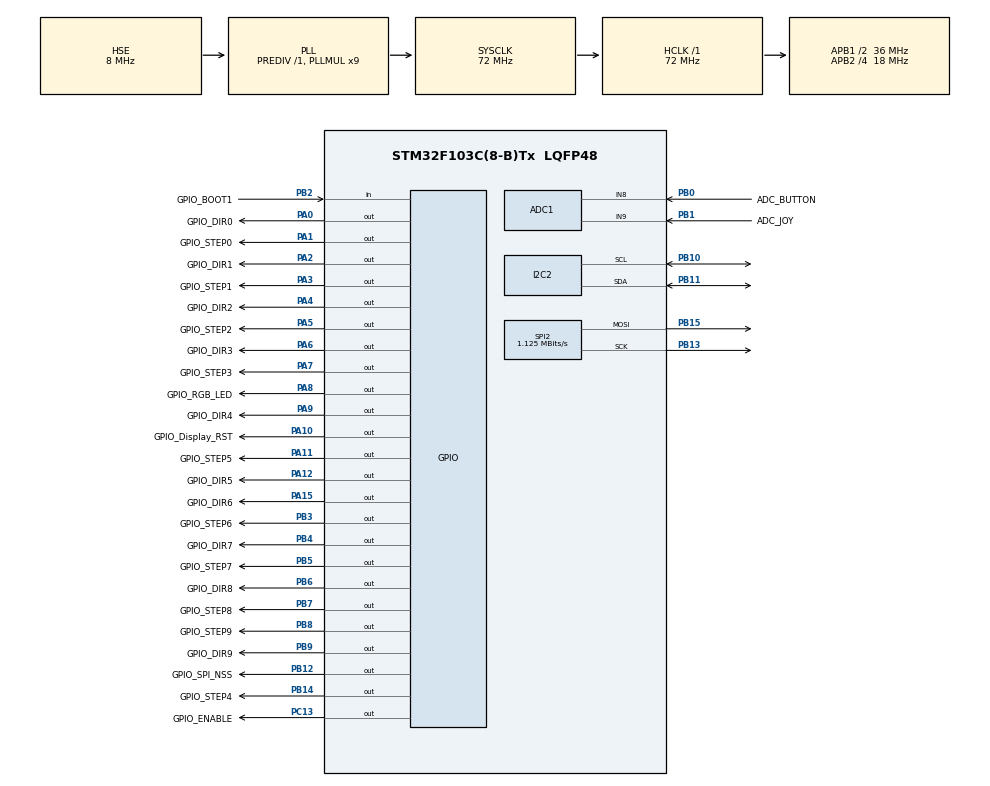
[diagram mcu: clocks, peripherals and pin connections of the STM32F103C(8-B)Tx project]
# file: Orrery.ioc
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ADC1.Channel-0\#ChannelRegularConversion=ADC_CHANNEL_8
ADC1.Channel-1\#ChannelRegularConversion=ADC_CHANNEL_8
ADC1.Channel-2\#ChannelRegularConversion=ADC_CHANNEL_8
ADC1.Channel-3\#ChannelRegularConversion=ADC_CHANNEL_8
ADC1.Channel-4\#ChannelRegularConversion=ADC_CHANNEL_9
ADC1.Channel-5\#ChannelRegularConversion=ADC_CHANNEL_9
ADC1.Channel-6\#ChannelRegularConversion=ADC_CHANNEL_9
ADC1.Channel-7\#ChannelRegularConversion=ADC_CHANNEL_9
ADC1.ContinuousConvMode=ENABLE
ADC1.NbrOfConversion=8
ADC1.NbrOfConversionFlag=1
ADC1.Rank-0\#ChannelRegularConversion=1
ADC1.Rank-1\#ChannelRegularConversion=2
ADC1.Rank-2\#ChannelRegularConversion=3
ADC1.Rank-3\#ChannelRegularConversion=4
ADC1.Rank-4\#ChannelRegularConversion=5
ADC1.Rank-5\#ChannelRegularConversion=6
ADC1.Rank-6\#ChannelRegularConversion=7
ADC1.Rank-7\#ChannelRegularConversion=8
ADC1.SamplingTime-0\#ChannelRegularConversion=ADC_SAMPLETIME_239CYCLES_5
ADC1.SamplingTime-1\#ChannelRegularConversion=ADC_SAMPLETIME_239CYCLES_5
ADC1.SamplingTime-2\#ChannelRegularConversion=ADC_SAMPLETIME_239CYCLES_5
ADC1.SamplingTime-3\#ChannelRegularConversion=ADC_SAMPLETIME_239CYCLES_5
ADC1.SamplingTime-4\#ChannelRegularConversion=ADC_SAMPLETIME_239CYCLES_5
ADC1.SamplingTime-5\#ChannelRegularConversion=ADC_SAMPLETIME_239CYCLES_5
ADC1.SamplingTime-6\#ChannelRegularConversion=ADC_SAMPLETIME_239CYCLES_5
ADC1.SamplingTime-7\#ChannelRegularConversion=ADC_SAMPLETIME_239CYCLES_5
ADC1.master=1
Dma.ADC1.1.Direction=DMA_PERIPH_TO_MEMORY
Dma.ADC1.1.Instance=DMA1_Channel1
Dma.ADC1.1.MemDataAlignment=DMA_MDATAALIGN_HALFWORD
Dma.ADC1.1.MemInc=DMA_MINC_ENABLE
Dma.ADC1.1.Mode=DMA_CIRCULAR
Dma.ADC1.1.PeriphDataAlignment=DMA_PDATAALIGN_HALFWORD
Dma.ADC1.1.PeriphInc=DMA_PINC_DISABLE
Dma.ADC1.1.Priority=DMA_PRIORITY_LOW
Dma.I2C2_TX.0.Direction=DMA_MEMORY_TO_PERIPH
Dma.I2C2_TX.0.Instance=DMA1_Channel4
Dma.I2C2_TX.0.MemDataAlignment=DMA_MDATAALIGN_BYTE
Dma.I2C2_TX.0.MemInc=DMA_MINC_ENABLE
Dma.I2C2_TX.0.Mode=DMA_NORMAL
Dma.I2C2_TX.0.PeriphDataAlignment=DMA_PDATAALIGN_BYTE
Dma.I2C2_TX.0.PeriphInc=DMA_PINC_DISABLE
Dma.I2C2_TX.0.Priority=DMA_PRIORITY_HIGH
Dma.Request0=I2C2_TX
Dma.Request1=ADC1
I2C2.I2C_Mode=I2C_Fast
Mcu.Family=STM32F1
Mcu.Name=STM32F103C(8-B)Tx
Mcu.Package=LQFP48
NVIC.ADC1_2_IRQn=true\:0\:0\:false\:false\:true\:true\:true
NVIC.DMA1_Channel1_IRQn=true\:0\:0\:false\:false\:true\:false\:true
NVIC.DMA1_Channel4_IRQn=true\:0\:0\:false\:false\:true\:false\:true
NVIC.I2C2_ER_IRQn=true\:0\:0\:false\:false\:true\:true\:true
NVIC.I2C2_EV_IRQn=true\:0\:0\:false\:false\:true\:true\:true
NVIC.PriorityGroup=NVIC_PRIORITYGROUP_4
NVIC.RTC_IRQn=true\:0\:0\:false\:false\:true\:true\:false
NVIC.TIM2_IRQn=true\:0\:0\:false\:false\:false\:true\:true
NVIC.TIM3_IRQn=true\:0\:0\:false\:false\:false\:true\:true
PA0-WKUP.GPIO_Label=GPIO_DIR0
PA0-WKUP.Signal=GPIO_Output
PA1.GPIO_Label=GPIO_STEP0
PA1.Signal=GPIO_Output
PA10.GPIO_Label=GPIO_Display_RST
PA10.Signal=GPIO_Output
PA11.GPIO_Label=GPIO_STEP5
PA11.Signal=GPIO_Output
PA12.GPIO_Label=GPIO_DIR5
PA12.Signal=GPIO_Output
PA13.Mode=Serial_Wire
PA13.Signal=SYS_JTMS-SWDIO
PA14.Mode=Serial_Wire
PA14.Signal=SYS_JTCK-SWCLK
PA15.GPIO_Label=GPIO_DIR6
PA15.Signal=GPIO_Output
PA2.GPIO_Label=GPIO_DIR1
PA2.Signal=GPIO_Output
PA3.GPIO_Label=GPIO_STEP1
PA3.Signal=GPIO_Output
PA4.GPIO_Label=GPIO_DIR2
PA4.Signal=GPIO_Output
PA5.GPIO_Label=GPIO_STEP2
PA5.Signal=GPIO_Output
PA6.GPIO_Label=GPIO_DIR3
PA6.Signal=GPIO_Output
PA7.GPIO_Label=GPIO_STEP3
PA7.Signal=GPIO_Output
PA8.GPIO_Label=GPIO_RGB_LED
PA8.Signal=GPIO_Output
PA9.GPIO_Label=GPIO_DIR4
PA9.Signal=GPIO_Output
PB0.GPIO_Label=ADC_BUTTON
PB0.Signal=ADCx_IN8
PB1.GPIO_Label=ADC_JOY
PB1.Signal=ADCx_IN9
PB10.Mode=I2C
PB10.Signal=I2C2_SCL
PB11.Mode=I2C
PB11.Signal=I2C2_SDA
PB12.GPIO_Label=GPIO_SPI_NSS
PB12.GPIO_Speed=GPIO_SPEED_FREQ_HIGH
PB12.PinState=GPIO_PIN_SET
PB12.Signal=GPIO_Output
PB13.Mode=TX_Only_Simplex_Unidirect_Master
PB13.Signal=SPI2_SCK
PB14.GPIO_Label=GPIO_STEP4
PB14.Signal=GPIO_Output
PB15.Mode=TX_Only_Simplex_Unidirect_Master
PB15.Signal=SPI2_MOSI
PB2.GPIO_Label=GPIO_BOOT1
PB2.Signal=GPIO_Input
PB3.GPIO_Label=GPIO_STEP6
PB3.Signal=GPIO_Output
PB4.GPIO_Label=GPIO_DIR7
PB4.Signal=GPIO_Output
PB5.GPIO_Label=GPIO_STEP7
PB5.Signal=GPIO_Output
PB6.GPIO_Label=GPIO_DIR8
PB6.Signal=GPIO_Output
PB7.GPIO_Label=GPIO_STEP8
PB7.Signal=GPIO_Output
PB8.GPIO_Label=GPIO_STEP9
PB8.Signal=GPIO_Output
PB9.GPIO_Label=GPIO_DIR9
PB9.Signal=GPIO_Output
PC13-TAMPER-RTC.GPIO_Label=GPIO_ENABLE
PC13-TAMPER-RTC.Signal=GPIO_Output
PC14-OSC32_IN.Mode=LSE-External-Oscillator
PC14-OSC32_IN.Signal=RCC_OSC32_IN
PC15-OSC32_OUT.Mode=LSE-External-Oscillator
PC15-OSC32_OUT.Signal=RCC_OSC32_OUT
PD0-OSC_IN.Mode=HSE-External-Oscillator
PD0-OSC_IN.Signal=RCC_OSC_IN
PD1-OSC_OUT.Mode=HSE-External-Oscillator
PD1-OSC_OUT.Signal=RCC_OSC_OUT
ProjectManager.HeapSize=0x200
ProjectManager.StackSize=0x400
ProjectManager.TargetToolchain=Other Toolchains (GPDSC)
RCC.ADCPresc=RCC_ADCPCLK2_DIV8
RCC.AHBFreq_Value=72000000
RCC.APB1CLKDivider=RCC_HCLK_DIV2
RCC.APB1Freq_Value=36000000
RCC.APB1TimFreq_Value=72000000
RCC.APB2CLKDivider=RCC_HCLK_DIV4
RCC.APB2Freq_Value=18000000
RCC.APB2TimFreq_Value=36000000
RCC.HCLKFreq_Value=72000000
RCC.PLLMUL=RCC_PLL_MUL9
RCC.PLLSourceVirtual=RCC_PLLSOURCE_HSE
RCC.RTCClockSelection=RCC_RTCCLKSOURCE_LSE
RCC.SYSCLKFreq_VALUE=72000000
RCC.SYSCLKSource=RCC_SYSCLKSOURCE_PLLCLK
RCC.USBFreq_Value=72000000
RTC.AutoPrediv=0
SH.ADCx_IN8.0=ADC1_IN8,IN8
SH.ADCx_IN9.0=ADC1_IN9,IN9
SPI2.BaudRatePrescaler=SPI_BAUDRATEPRESCALER_32
SPI2.CalculateBaudRate=1.125 MBits/s
SPI2.Direction=SPI_DIRECTION_2LINES
SPI2.Mode=SPI_MODE_MASTER
SPI2.VirtualType=VM_MASTER
TIM2.Period=1
TIM2.Prescaler=17999
TIM3.Period=2000
TIM3.Prescaler=35999
VP_CRC_VS_CRC.Mode=CRC_Activate
VP_RTC_VS_RTC_Activate.Mode=RTC_Enabled
VP_TIM1_VS_ClockSourceINT.Mode=Internal
VP_TIM2_VS_ClockSourceINT.Mode=Internal
VP_TIM3_VS_ClockSourceINT.Mode=Internal
board=custom

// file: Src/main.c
/* USER CODE BEGIN Header */
/**
  ******************************************************************************
  * @file           : main.c
  * @brief          : Main program body
  ******************************************************************************
  ** This notice applies to any and all portions of this file
  * that are not between comment pairs USER CODE BEGIN and
  * USER CODE END. Other portions of this file, whether
  * inserted by the user or by software development tools
  * are owned by their respective copyright owners.
  *
  * COPYRIGHT(c) 2020 STMicroelectronics
  *
  * Redistribution and use in source and binary forms, with or without modification,
  * are permitted provided that the following conditions are met:
  *   1. Redistributions of source code must retain the above copyright notice,
  *      this list of conditions and the following disclaimer.
  *   2. Redistributions in binary form must reproduce the above copyright notice,
  *      this list of conditions and the following disclaimer in the documentation
  *      and/or other materials provided with the distribution.
  *   3. Neither the name of STMicroelectronics nor the names of its contributors
  *      may be used to endorse or promote products derived from this software
  *      without specific prior written permission.
  *
  * THIS SOFTWARE IS PROVIDED BY THE COPYRIGHT HOLDERS AND CONTRIBUTORS "AS IS"
  * AND ANY EXPRESS OR IMPLIED WARRANTIES, INCLUDING, BUT NOT LIMITED TO, THE
  * IMPLIED WARRANTIES OF MERCHANTABILITY AND FITNESS FOR A PARTICULAR PURPOSE ARE
  * DISCLAIMED. IN NO EVENT SHALL THE COPYRIGHT HOLDER OR CONTRIBUTORS BE LIABLE
  * FOR ANY DIRECT, INDIRECT, INCIDENTAL, SPECIAL, EXEMPLARY, OR CONSEQUENTIAL
  * DAMAGES (INCLUDING, BUT NOT LIMITED TO, PROCUREMENT OF SUBSTITUTE GOODS OR
  * SERVICES; LOSS OF USE, DATA, OR PROFITS; OR BUSINESS INTERRUPTION) HOWEVER
  * CAUSED AND ON ANY THEORY OF LIABILITY, WHETHER IN CONTRACT, STRICT LIABILITY,
  * OR TORT (INCLUDING NEGLIGENCE OR OTHERWISE) ARISING IN ANY WAY OUT OF THE USE
  * OF THIS SOFTWARE, EVEN IF ADVISED OF THE POSSIBILITY OF SUCH DAMAGE.
  *
  ******************************************************************************
  */
/* USER CODE END Header */
#include "main.h"

/* USER CODE BEGIN Includes */
#include <memory.h>
#include "Orrery.h"
#include "RTC_time_t.h"
/* USER CODE END Includes */

/* USER CODE BEGIN PD */

						// Year  Month   Day    Hour  Minute  Second
						// NNNN  1-12   1-31    0-24    0-60    0-60
//#define RTC_SET_DATETIME   2021, 	6,    27,      9,     28,     30

/* USER CODE END PD */

ADC_HandleTypeDef hadc1;
DMA_HandleTypeDef hdma_adc1;

CRC_HandleTypeDef hcrc;

I2C_HandleTypeDef hi2c2;
DMA_HandleTypeDef hdma_i2c2_tx;

RTC_HandleTypeDef hrtc;

SPI_HandleTypeDef hspi2;

TIM_HandleTypeDef htim1;
TIM_HandleTypeDef htim2;
TIM_HandleTypeDef htim3;

void SystemClock_Config(void);
static void MX_GPIO_Init(void);
static void MX_DMA_Init(void);
static void MX_CRC_Init(void);
static void MX_ADC1_Init(void);
static void MX_I2C2_Init(void);
static void MX_SPI2_Init(void);
static void MX_TIM1_Init(void);
static void MX_RTC_Init(void);
static void MX_TIM2_Init(void);
static void MX_TIM3_Init(void);

int main(void)
{

  /* MCU Configuration--------------------------------------------------------*/

  /* Reset of all peripherals, Initializes the Flash interface and the Systick. */
  HAL_Init();

  /* Configure the system clock */
  SystemClock_Config();

  /* Initialize all configured peripherals */
  MX_GPIO_Init();
  MX_DMA_Init();
  MX_CRC_Init();
  MX_ADC1_Init();
  MX_I2C2_Init();
  MX_SPI2_Init();
  MX_TIM1_Init();
  MX_RTC_Init();
  MX_TIM2_Init();
  MX_TIM3_Init();
  /* USER CODE BEGIN 2 */
  HAL_RTCEx_SetSecond_IT(&hrtc);

  Orrery o;
  o.main();
  /* USER CODE END 2 */

  /* Infinite loop */
  while (1)
  {

  }
}

void SystemClock_Config(void)
{
  RCC_OscInitTypeDef RCC_OscInitStruct = {0};
  RCC_ClkInitTypeDef RCC_ClkInitStruct = {0};
  RCC_PeriphCLKInitTypeDef PeriphClkInit = {0};

  /** Initializes the RCC Oscillators according to the specified parameters
  * in the RCC_OscInitTypeDef structure.
  */
  RCC_OscInitStruct.OscillatorType = RCC_OSCILLATORTYPE_HSE|RCC_OSCILLATORTYPE_LSE;
  RCC_OscInitStruct.HSEState = RCC_HSE_ON;
  RCC_OscInitStruct.HSEPredivValue = RCC_HSE_PREDIV_DIV1;
  RCC_OscInitStruct.LSEState = RCC_LSE_ON;
  RCC_OscInitStruct.HSIState = RCC_HSI_ON;
  RCC_OscInitStruct.PLL.PLLState = RCC_PLL_ON;
  RCC_OscInitStruct.PLL.PLLSource = RCC_PLLSOURCE_HSE;
  RCC_OscInitStruct.PLL.PLLMUL = RCC_PLL_MUL9;
  if (HAL_RCC_OscConfig(&RCC_OscInitStruct) != HAL_OK)
  {
    Error_Handler();
  }
  /** Initializes the CPU, AHB and APB buses clocks
  */
  RCC_ClkInitStruct.ClockType = RCC_CLOCKTYPE_HCLK|RCC_CLOCKTYPE_SYSCLK
                              |RCC_CLOCKTYPE_PCLK1|RCC_CLOCKTYPE_PCLK2;
  RCC_ClkInitStruct.SYSCLKSource = RCC_SYSCLKSOURCE_PLLCLK;
  RCC_ClkInitStruct.AHBCLKDivider = RCC_SYSCLK_DIV1;
  RCC_ClkInitStruct.APB1CLKDivider = RCC_HCLK_DIV2;
  RCC_ClkInitStruct.APB2CLKDivider = RCC_HCLK_DIV4;

  if (HAL_RCC_ClockConfig(&RCC_ClkInitStruct, FLASH_LATENCY_2) != HAL_OK)
  {
    Error_Handler();
  }
  PeriphClkInit.PeriphClockSelection = RCC_PERIPHCLK_RTC|RCC_PERIPHCLK_ADC;
  PeriphClkInit.RTCClockSelection = RCC_RTCCLKSOURCE_LSE;
  PeriphClkInit.AdcClockSelection = RCC_ADCPCLK2_DIV8;
  if (HAL_RCCEx_PeriphCLKConfig(&PeriphClkInit) != HAL_OK)
  {
    Error_Handler();
  }
}

static void MX_ADC1_Init(void)
{

  ADC_ChannelConfTypeDef sConfig = {0};

  /** Common config
  */
  hadc1.Instance = ADC1;
  hadc1.Init.ScanConvMode = ADC_SCAN_ENABLE;
  hadc1.Init.ContinuousConvMode = ENABLE;
  hadc1.Init.DiscontinuousConvMode = DISABLE;
  hadc1.Init.ExternalTrigConv = ADC_SOFTWARE_START;
  hadc1.Init.DataAlign = ADC_DATAALIGN_RIGHT;
  hadc1.Init.NbrOfConversion = 8;
  if (HAL_ADC_Init(&hadc1) != HAL_OK)
  {
    Error_Handler();
  }
  /** Configure Regular Channel
  */
  sConfig.Channel = ADC_CHANNEL_8;
  sConfig.Rank = ADC_REGULAR_RANK_1;
  sConfig.SamplingTime = ADC_SAMPLETIME_239CYCLES_5;
  if (HAL_ADC_ConfigChannel(&hadc1, &sConfig) != HAL_OK)
  {
    Error_Handler();
  }
  /** Configure Regular Channel
  */
  sConfig.Rank = ADC_REGULAR_RANK_2;
  if (HAL_ADC_ConfigChannel(&hadc1, &sConfig) != HAL_OK)
  {
    Error_Handler();
  }
  /** Configure Regular Channel
  */
  sConfig.Rank = ADC_REGULAR_RANK_3;
  if (HAL_ADC_ConfigChannel(&hadc1, &sConfig) != HAL_OK)
  {
    Error_Handler();
  }
  /** Configure Regular Channel
  */
  sConfig.Rank = ADC_REGULAR_RANK_4;
  if (HAL_ADC_ConfigChannel(&hadc1, &sConfig) != HAL_OK)
  {
    Error_Handler();
  }
  /** Configure Regular Channel
  */
  sConfig.Channel = ADC_CHANNEL_9;
  sConfig.Rank = ADC_REGULAR_RANK_5;
  if (HAL_ADC_ConfigChannel(&hadc1, &sConfig) != HAL_OK)
  {
    Error_Handler();
  }
  /** Configure Regular Channel
  */
  sConfig.Rank = ADC_REGULAR_RANK_6;
  if (HAL_ADC_ConfigChannel(&hadc1, &sConfig) != HAL_OK)
  {
    Error_Handler();
  }
  /** Configure Regular Channel
  */
  sConfig.Rank = ADC_REGULAR_RANK_7;
  if (HAL_ADC_ConfigChannel(&hadc1, &sConfig) != HAL_OK)
  {
    Error_Handler();
  }
  /** Configure Regular Channel
  */
  sConfig.Rank = ADC_REGULAR_RANK_8;
  if (HAL_ADC_ConfigChannel(&hadc1, &sConfig) != HAL_OK)
  {
    Error_Handler();
  }

}

static void MX_CRC_Init(void)
{

  hcrc.Instance = CRC;
  if (HAL_CRC_Init(&hcrc) != HAL_OK)
  {
    Error_Handler();
  }

}

static void MX_I2C2_Init(void)
{

  hi2c2.Instance = I2C2;
  hi2c2.Init.ClockSpeed = 400000;
  hi2c2.Init.DutyCycle = I2C_DUTYCYCLE_2;
  hi2c2.Init.OwnAddress1 = 0;
  hi2c2.Init.AddressingMode = I2C_ADDRESSINGMODE_7BIT;
  hi2c2.Init.DualAddressMode = I2C_DUALADDRESS_DISABLE;
  hi2c2.Init.OwnAddress2 = 0;
  hi2c2.Init.GeneralCallMode = I2C_GENERALCALL_DISABLE;
  hi2c2.Init.NoStretchMode = I2C_NOSTRETCH_DISABLE;
  if (HAL_I2C_Init(&hi2c2) != HAL_OK)
  {
    Error_Handler();
  }

}

static void MX_RTC_Init(void)
{

  /** Initialize RTC Only
  */
  hrtc.Instance = RTC;
  hrtc.Init.AsynchPrediv = 127;
  hrtc.Init.OutPut = RTC_OUTPUTSOURCE_ALARM;
  if (HAL_RTC_Init(&hrtc) != HAL_OK)
  {
    Error_Handler();
  }
  /* USER CODE BEGIN RTC_Init 2 */
	RTC_time_t::Init();

#ifdef RTC_SET_DATETIME
//						  // Year  Month   Day    Hour  Minute  Second
//						  // NNNN  1-12   1-31    0-24    0-60    0-60
	struct
	{
		int year, month, day, hour, minute, second;
	} start_time = { RTC_SET_DATETIME };

	struct tm start_time_tm;
	memset(&start_time_tm, 0, sizeof(start_time_tm));
	start_time_tm.tm_year = start_time.year-1900;
	start_time_tm.tm_mon = start_time.month-1;
	start_time_tm.tm_mday = start_time.day;
	start_time_tm.tm_hour = start_time.hour;
	start_time_tm.tm_min = start_time.minute;
	start_time_tm.tm_sec = start_time.second;

	time_t t = mktime(&start_time_tm);
	RTC_time_t::SetTime(t);
#endif
  /* USER CODE END RTC_Init 2 */

}

static void MX_SPI2_Init(void)
{

  /* SPI2 parameter configuration*/
  hspi2.Instance = SPI2;
  hspi2.Init.Mode = SPI_MODE_MASTER;
  hspi2.Init.Direction = SPI_DIRECTION_2LINES;
  hspi2.Init.DataSize = SPI_DATASIZE_8BIT;
  hspi2.Init.CLKPolarity = SPI_POLARITY_LOW;
  hspi2.Init.CLKPhase = SPI_PHASE_1EDGE;
  hspi2.Init.NSS = SPI_NSS_SOFT;
  hspi2.Init.BaudRatePrescaler = SPI_BAUDRATEPRESCALER_32;
  hspi2.Init.FirstBit = SPI_FIRSTBIT_MSB;
  hspi2.Init.TIMode = SPI_TIMODE_DISABLE;
  hspi2.Init.CRCCalculation = SPI_CRCCALCULATION_DISABLE;
  hspi2.Init.CRCPolynomial = 10;
  if (HAL_SPI_Init(&hspi2) != HAL_OK)
  {
    Error_Handler();
  }

}

static void MX_TIM1_Init(void)
{

  TIM_ClockConfigTypeDef sClockSourceConfig = {0};
  TIM_MasterConfigTypeDef sMasterConfig = {0};

  htim1.Instance = TIM1;
  htim1.Init.Prescaler = 0;
  htim1.Init.CounterMode = TIM_COUNTERMODE_UP;
  htim1.Init.Period = 65535;
  htim1.Init.ClockDivision = TIM_CLOCKDIVISION_DIV1;
  htim1.Init.RepetitionCounter = 0;
  htim1.Init.AutoReloadPreload = TIM_AUTORELOAD_PRELOAD_DISABLE;
  if (HAL_TIM_Base_Init(&htim1) != HAL_OK)
  {
    Error_Handler();
  }
  sClockSourceConfig.ClockSource = TIM_CLOCKSOURCE_INTERNAL;
  if (HAL_TIM_ConfigClockSource(&htim1, &sClockSourceConfig) != HAL_OK)
  {
    Error_Handler();
  }
  sMasterConfig.MasterOutputTrigger = TIM_TRGO_RESET;
  sMasterConfig.MasterSlaveMode = TIM_MASTERSLAVEMODE_DISABLE;
  if (HAL_TIMEx_MasterConfigSynchronization(&htim1, &sMasterConfig) != HAL_OK)
  {
    Error_Handler();
  }

}

static void MX_TIM2_Init(void)
{

  TIM_ClockConfigTypeDef sClockSourceConfig = {0};
  TIM_MasterConfigTypeDef sMasterConfig = {0};

  htim2.Instance = TIM2;
  htim2.Init.Prescaler = 17999;
  htim2.Init.CounterMode = TIM_COUNTERMODE_UP;
  htim2.Init.Period = 1;
  htim2.Init.ClockDivision = TIM_CLOCKDIVISION_DIV1;
  htim2.Init.AutoReloadPreload = TIM_AUTORELOAD_PRELOAD_DISABLE;
  if (HAL_TIM_Base_Init(&htim2) != HAL_OK)
  {
    Error_Handler();
  }
  sClockSourceConfig.ClockSource = TIM_CLOCKSOURCE_INTERNAL;
  if (HAL_TIM_ConfigClockSource(&htim2, &sClockSourceConfig) != HAL_OK)
  {
    Error_Handler();
  }
  sMasterConfig.MasterOutputTrigger = TIM_TRGO_RESET;
  sMasterConfig.MasterSlaveMode = TIM_MASTERSLAVEMODE_DISABLE;
  if (HAL_TIMEx_MasterConfigSynchronization(&htim2, &sMasterConfig) != HAL_OK)
  {
    Error_Handler();
  }

}

static void MX_TIM3_Init(void)
{

  TIM_ClockConfigTypeDef sClockSourceConfig = {0};
  TIM_MasterConfigTypeDef sMasterConfig = {0};

  htim3.Instance = TIM3;
  htim3.Init.Prescaler = 35999;
  htim3.Init.CounterMode = TIM_COUNTERMODE_UP;
  htim3.Init.Period = 2;
  htim3.Init.ClockDivision = TIM_CLOCKDIVISION_DIV1;
  htim3.Init.AutoReloadPreload = TIM_AUTORELOAD_PRELOAD_DISABLE;
  if (HAL_TIM_Base_Init(&htim3) != HAL_OK)
  {
    Error_Handler();
  }
  sClockSourceConfig.ClockSource = TIM_CLOCKSOURCE_INTERNAL;
  if (HAL_TIM_ConfigClockSource(&htim3, &sClockSourceConfig) != HAL_OK)
  {
    Error_Handler();
  }
  sMasterConfig.MasterOutputTrigger = TIM_TRGO_RESET;
  sMasterConfig.MasterSlaveMode = TIM_MASTERSLAVEMODE_DISABLE;
  if (HAL_TIMEx_MasterConfigSynchronization(&htim3, &sMasterConfig) != HAL_OK)
  {
    Error_Handler();
  }

}

static void MX_DMA_Init(void)
{

  /* DMA controller clock enable */
  __HAL_RCC_DMA1_CLK_ENABLE();

  /* DMA interrupt init */
  /* DMA1_Channel1_IRQn interrupt configuration */
  HAL_NVIC_SetPriority(DMA1_Channel1_IRQn, 0, 0);
  HAL_NVIC_EnableIRQ(DMA1_Channel1_IRQn);
  /* DMA1_Channel4_IRQn interrupt configuration */
  HAL_NVIC_SetPriority(DMA1_Channel4_IRQn, 0, 0);
  HAL_NVIC_EnableIRQ(DMA1_Channel4_IRQn);

}

static void MX_GPIO_Init(void)
{
  GPIO_InitTypeDef GPIO_InitStruct = {0};

  /* GPIO Ports Clock Enable */
  __HAL_RCC_GPIOC_CLK_ENABLE();
  __HAL_RCC_GPIOD_CLK_ENABLE();
  __HAL_RCC_GPIOA_CLK_ENABLE();
  __HAL_RCC_GPIOB_CLK_ENABLE();

  /*Configure GPIO pin Output Level */
  HAL_GPIO_WritePin(GPIO_ENABLE_GPIO_Port, GPIO_ENABLE_Pin, GPIO_PIN_RESET);

  /*Configure GPIO pin Output Level */
  HAL_GPIO_WritePin(GPIOA, GPIO_DIR0_Pin|GPIO_STEP0_Pin|GPIO_DIR1_Pin|GPIO_STEP1_Pin
                          |GPIO_DIR2_Pin|GPIO_STEP2_Pin|GPIO_DIR3_Pin|GPIO_STEP3_Pin
                          |GPIO_RGB_LED_Pin|GPIO_DIR4_Pin|GPIO_Display_RST_Pin|GPIO_STEP5_Pin
                          |GPIO_DIR5_Pin|GPIO_DIR6_Pin, GPIO_PIN_RESET);

  /*Configure GPIO pin Output Level */
  HAL_GPIO_WritePin(GPIO_SPI_NSS_GPIO_Port, GPIO_SPI_NSS_Pin, GPIO_PIN_SET);

  /*Configure GPIO pin Output Level */
  HAL_GPIO_WritePin(GPIOB, GPIO_STEP4_Pin|GPIO_STEP6_Pin|GPIO_DIR7_Pin|GPIO_STEP7_Pin
                          |GPIO_DIR8_Pin|GPIO_STEP8_Pin|GPIO_STEP9_Pin|GPIO_DIR9_Pin, GPIO_PIN_RESET);

  /*Configure GPIO pin : GPIO_ENABLE_Pin */
  GPIO_InitStruct.Pin = GPIO_ENABLE_Pin;
  GPIO_InitStruct.Mode = GPIO_MODE_OUTPUT_PP;
  GPIO_InitStruct.Pull = GPIO_NOPULL;
  GPIO_InitStruct.Speed = GPIO_SPEED_FREQ_LOW;
  HAL_GPIO_Init(GPIO_ENABLE_GPIO_Port, &GPIO_InitStruct);

  /*Configure GPIO pins : GPIO_DIR0_Pin GPIO_STEP0_Pin GPIO_DIR1_Pin GPIO_STEP1_Pin
                           GPIO_DIR2_Pin GPIO_STEP2_Pin GPIO_DIR3_Pin GPIO_STEP3_Pin
                           GPIO_RGB_LED_Pin GPIO_DIR4_Pin GPIO_Display_RST_Pin GPIO_STEP5_Pin
                           GPIO_DIR5_Pin GPIO_DIR6_Pin */
  GPIO_InitStruct.Pin = GPIO_DIR0_Pin|GPIO_STEP0_Pin|GPIO_DIR1_Pin|GPIO_STEP1_Pin
                          |GPIO_DIR2_Pin|GPIO_STEP2_Pin|GPIO_DIR3_Pin|GPIO_STEP3_Pin
                          |GPIO_RGB_LED_Pin|GPIO_DIR4_Pin|GPIO_Display_RST_Pin|GPIO_STEP5_Pin
                          |GPIO_DIR5_Pin|GPIO_DIR6_Pin;
  GPIO_InitStruct.Mode = GPIO_MODE_OUTPUT_PP;
  GPIO_InitStruct.Pull = GPIO_NOPULL;
  GPIO_InitStruct.Speed = GPIO_SPEED_FREQ_LOW;
  HAL_GPIO_Init(GPIOA, &GPIO_InitStruct);

  /*Configure GPIO pin : GPIO_BOOT1_Pin */
  GPIO_InitStruct.Pin = GPIO_BOOT1_Pin;
  GPIO_InitStruct.Mode = GPIO_MODE_INPUT;
  GPIO_InitStruct.Pull = GPIO_NOPULL;
  HAL_GPIO_Init(GPIO_BOOT1_GPIO_Port, &GPIO_InitStruct);

  /*Configure GPIO pin : GPIO_SPI_NSS_Pin */
  GPIO_InitStruct.Pin = GPIO_SPI_NSS_Pin;
  GPIO_InitStruct.Mode = GPIO_MODE_OUTPUT_PP;
  GPIO_InitStruct.Pull = GPIO_NOPULL;
  GPIO_InitStruct.Speed = GPIO_SPEED_FREQ_HIGH;
  HAL_GPIO_Init(GPIO_SPI_NSS_GPIO_Port, &GPIO_InitStruct);

  /*Configure GPIO pins : GPIO_STEP4_Pin GPIO_STEP6_Pin GPIO_DIR7_Pin GPIO_STEP7_Pin
                           GPIO_DIR8_Pin GPIO_STEP8_Pin GPIO_STEP9_Pin GPIO_DIR9_Pin */
  GPIO_InitStruct.Pin = GPIO_STEP4_Pin|GPIO_STEP6_Pin|GPIO_DIR7_Pin|GPIO_STEP7_Pin
                          |GPIO_DIR8_Pin|GPIO_STEP8_Pin|GPIO_STEP9_Pin|GPIO_DIR9_Pin;
  GPIO_InitStruct.Mode = GPIO_MODE_OUTPUT_PP;
  GPIO_InitStruct.Pull = GPIO_NOPULL;
  GPIO_InitStruct.Speed = GPIO_SPEED_FREQ_LOW;
  HAL_GPIO_Init(GPIOB, &GPIO_InitStruct);

}

void Error_Handler(void)
{
}

/************************ (C) COPYRIGHT STMicroelectronics *****END OF FILE****/
